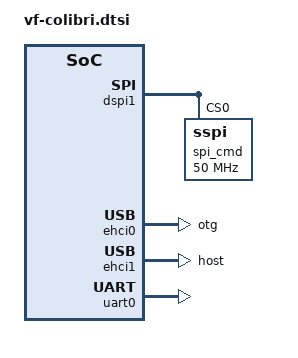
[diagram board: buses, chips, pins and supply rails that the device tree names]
// SPDX-License-Identifier: GPL-2.0+ OR X11
/*
 * Copyright 2014 Toradex AG
 */
#include "vf.dtsi"

/ {
	chosen {
		stdout-path = &uart0;
	};
};

&dspi1 {
	status = "okay";
	bus-num = <1>;

	spi_cmd: sspi@0 {
		reg = <0>;
		spi-max-frequency = <50000000>;
	};
};

&ehci0 {
	dr_mode = "otg";
	fsl,cdet-gpio = <&gpio3 6 GPIO_ACTIVE_HIGH>;
	status = "okay";
};

&ehci1 {
	dr_mode = "host";
	status = "okay";
};

&uart0 {
	status = "okay";
};
